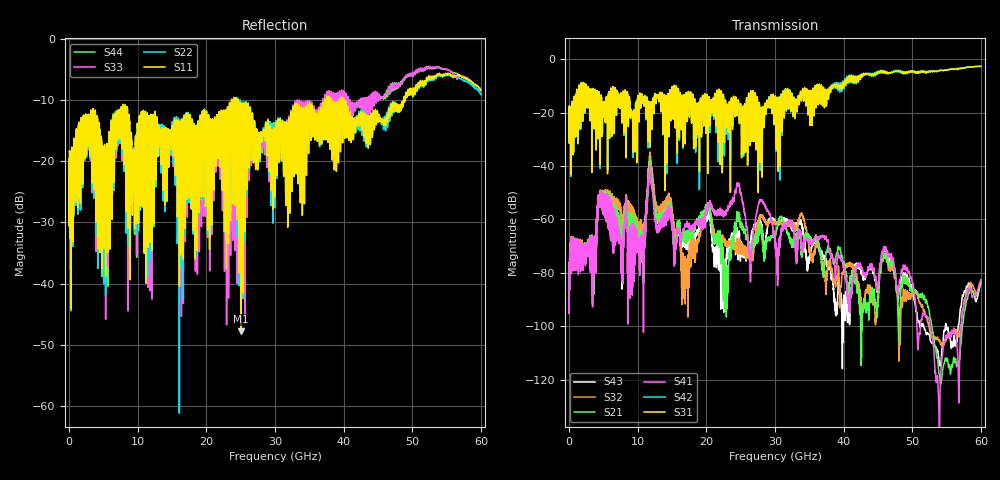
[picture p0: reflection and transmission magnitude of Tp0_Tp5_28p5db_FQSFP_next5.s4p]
!4 port subset of full cascaded channels using these ports:55 37 56 38
# Hz S RI R 50
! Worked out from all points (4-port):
!   6000 points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, 10 MHz to 60 GHz, reference 50 ohm
!   strongest paths, dB at 10 MHz, 15.01 GHz, 30.01 GHz, 45.01 GHz, 60 GHz:
!     S31: -20.0, -10.7, -13.9, -5.1, -2.6
!     S42: -20.0, -10.7, -13.8, -5.2, -2.7
!     S41: -90.1, -61.2, -68.9, -83.8, -82.7
!     S21: -89.9, -60.9, -66.0, -90.3, -83.0
!     S32: -89.7, -57.3, -61.2, -88.1, -82.6
!     S43: -89.9, -57.8, -60.5, -84.0, -83.7
!   lowest |S11| = -47.8 dB at 25.06 GHz (marker M1), VSWR 1.01, Z = 49.9 + j0.386 ohm
!   |S11| at or under -10 dB: start of sweep to 23.67 GHz; 24.62 GHz to 37.24 GHz (12.62 GHz wide, 40.8 % of centre); 40.05 GHz to 48.75 GHz (8.705 GHz wide, 19.6 % of centre)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
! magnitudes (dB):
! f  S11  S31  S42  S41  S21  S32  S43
! 10 MHz  -22.0  -20.0  -20.0  -90.1  -89.9  -89.7  -89.9
! 4.58 GHz  -25.3  -18.2  -17.9  -54.3  -54.3  -54.1  -54.2
! 10.65 GHz  -20.7  -15.1  -15.4  -67.5  -71.7  -74.9  -71.8
! 11.85 GHz  -17.7  -20.6  -20.5  -42.8  -39.9  -36.9  -39.8
! 16.9 GHz  -22.0  -23.6  -25.7  -61.6  -64.7  -75.1  -65.3
! 25.06 GHz  -47.8  -19.5  -19.3  -50.3  -62.1  -71.0  -70.9
! 60 GHz  -8.4  -2.6  -2.7  -82.7  -83.0  -82.6  -83.7
